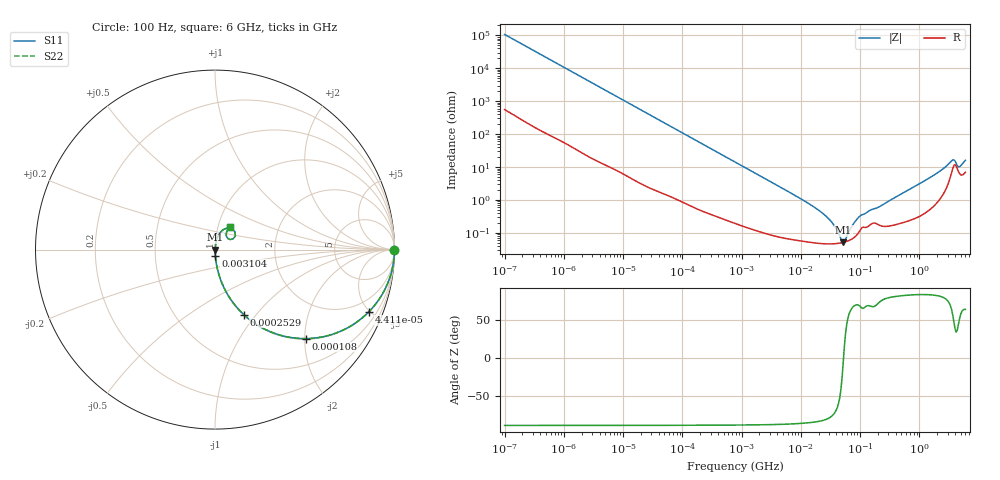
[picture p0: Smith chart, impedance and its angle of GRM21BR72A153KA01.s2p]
!Murata Part Number: GRM21BR72A153KA01
!These Parameters are Measured in Series Mode Connection
!Data Generated on Mar 30, 2021
!  o--ll--o
!Port1  Port2
!  o------o
!Operation Temp=25[degC], DC Bias Voltage=0[V]
!Freq. Start=100[Hz] Stop=6[GHz] 401[Steps]
# Hz S RI R 50
!Freq.(Hz) S11(Real) S11(Imag) S21(Real) S21(Imag) S12(Real) S12(Imag) S22(Real) S22(Imag)
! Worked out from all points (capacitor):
!   401 points, 100 Hz to 6 GHz, reference 50 ohm
!   read as one part in series: C = 14.9 nF near 109 Hz
!   lowest |Z| = 51.8 mohm at 52.11 MHz (marker M1)
!   series resonance near 52.66 MHz, so ESL is about 610 pH
!   S11 on the Smith chart (normalised r, x): 100 Hz: open; 44.11 kHz: 1.03, -4.92; 108 kHz: 1.02, -2.02; 252.9 kHz: 1.01, -0.86; 3.104 MHz: 1.00, -0.07; 6 GHz: 1.14, +0.29
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100  1 -0.00094  5.8e-06 0.00094  5.8e-06 0.00094  1 -0.00094
2008  0.9996 -0.0187  0.000444 0.0187  0.000444 0.0187  0.9996 -0.0187
11514  0.9882 -0.1053  0.0118 0.1053  0.0118 0.1053  0.9882 -0.1053
40335  0.8769 -0.3253  0.1231 0.3253  0.1231 0.3253  0.8769 -0.3253
44113  0.8565 -0.3473  0.1435 0.3473  0.1435 0.3473  0.8565 -0.3473
108014  0.5043 -0.496  0.4957 0.496  0.4957 0.496  0.5043 -0.496
252896  0.1599 -0.3618  0.8401 0.3618  0.8401 0.3618  0.1599 -0.3618
774597  0.0216 -0.1388  0.9784 0.1388  0.9784 0.1388  0.0216 -0.1388
3103719  0.00214 -0.0356  0.9979 0.0356  0.9979 0.0356  0.00214 -0.0356
1.555665e7  0.000552 -0.00664  0.9994 0.00664  0.9994 0.00664  0.000552 -0.00664
3.184506e7  0.000469 -0.00228  0.9995 0.00228  0.9995 0.00228  0.000469 -0.00228
3.80911e7  0.000473 -0.00144  0.9995 0.00144  0.9995 0.00144  0.000473 -0.00144
4.764863e7  0.000498 -0.000438  0.9995 0.000438  0.9995 0.000438  0.000498 -0.000438
5.211241e7  0.000516 -4.49e-05  0.9995 4.49e-05  0.9995 4.49e-05  0.000516 -4.49e-05
5.699437e7  0.00054 0.000349  0.9995 -0.000349  0.9995 -0.000349  0.00054 0.000349
7.797396e7  0.00071 0.0018  0.9993 -0.0018  0.9993 -0.0018  0.00071 0.0018
9.753859e7  0.00112 0.00294  0.9989 -0.00294  0.9989 -0.00294  0.00112 0.00294
3.124326e8  0.0017 0.00934  0.9983 -0.00934  0.9983 -0.00934  0.0017 0.00934
1.637704e9  0.00839 0.0512  0.9916 -0.0512  0.9916 -0.0512  0.00839 0.0512
3.505958e9  0.0782 0.12  0.9218 -0.12  0.9218 -0.12  0.0782 0.12
4.796499e9  0.0645 0.0722  0.9355 -0.0722  0.9355 -0.0722  0.0645 0.0722
6e9  0.0821 0.125  0.9179 -0.125  0.9179 -0.125  0.0821 0.125
